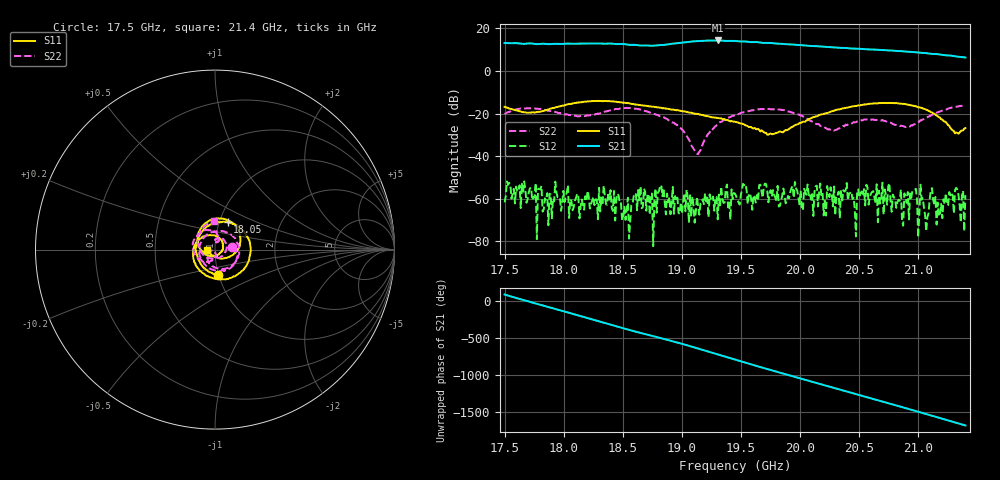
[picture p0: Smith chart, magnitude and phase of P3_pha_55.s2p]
!Created with skrf (http://scikit-rf.org).
# GHz S RI R 50.0
!freq ReS11 ImS11 ReS21 ImS21 ReS12 ImS12 ReS22 ImS22
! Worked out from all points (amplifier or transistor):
!   401 points, 17.5 GHz to 21.4 GHz, reference 50 ohm
!   highest |S21| = 14.4 dB at 19.3 GHz (marker M1)
!   |S21| within 3 dB of that: start of sweep to 20.2 GHz
!   unconditionally stable (mu >= 1): start of sweep to end of sweep
!   at 18.14 GHz: K = 161.51, MAG = 13.1 dB, |S12| = -63.5 dB
!   at 19.45 GHz: K = 73.46, MAG = 14.2 dB, |S12| = -57.6 dB
!   at 21.4 GHz: K = 190.57, MAG = 6.5 dB, |S12| = -58.3 dB
!   S11 on the Smith chart (normalised r, x): 17.5 GHz: 0.99, -0.29; 18.05 GHz: 1.09, +0.34; 21.4 GHz: 0.91, -0.00
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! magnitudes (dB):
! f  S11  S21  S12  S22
! 17.5 GHz  -16.8  13.2  -61.6  -20.1
! 17.53 GHz  -17.3  13.1  -53.4  -19.2
! 18.05 GHz  -15.5  12.9  -69.0  -20.6
! 18.15 GHz  -14.6  12.9  -60.3  -21.1
! 18.47 GHz  -14.5  12.7  -58.5  -17.9
! 18.54 GHz  -15.1  12.4  -59.5  -17.4
! 18.61 GHz  -15.7  12.3  -57.9  -17.7
! 18.75 GHz  -16.8  11.9  -57.6  -19.8
! 18.81 GHz  -17.1  12.2  -56.4  -21.0
! 19.13 GHz  -20.0  14.0  -59.0  -38.8
! 19.3 GHz  -22.0  14.4  -69.6  -25.0
! 19.45 GHz  -23.8  14.1  -57.6  -20.5
! 19.74 GHz  -29.5  13.2  -57.3  -17.7
! 20.1 GHz  -21.9  11.8  -57.7  -23.7
! 20.76 GHz  -15.0  9.7  -52.6  -24.1
! 20.88 GHz  -15.4  9.2  -57.5  -26.1
! 20.97 GHz  -16.5  8.9  -55.6  -25.0
! 21.07 GHz  -18.1  8.4  -75.1  -22.0
! 21.13 GHz  -19.8  8.0  -60.3  -20.4
! 21.18 GHz  -21.6  7.9  -68.2  -19.1
! 21.27 GHz  -26.7  7.3  -58.3  -17.3
! 21.4 GHz  -26.8  6.4  -58.3  -15.9
